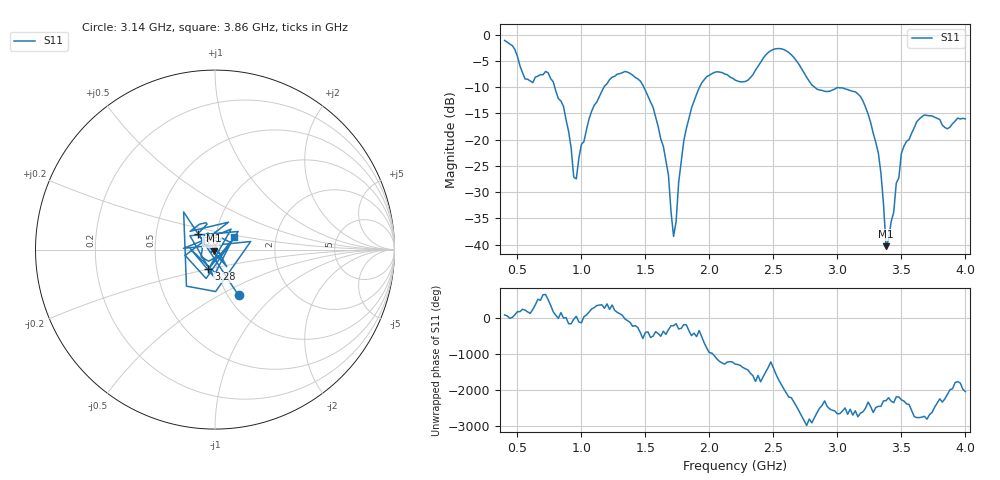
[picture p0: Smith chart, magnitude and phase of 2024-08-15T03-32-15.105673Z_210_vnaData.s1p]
!Created with skrf (http://scikit-rf.org).
# Hz S RI R 50.0
!freq ReS11 ImS11
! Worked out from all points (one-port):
!   181 points, 400 MHz to 4 GHz, reference 50 ohm
!   lowest |S11| = -40.3 dB at 3.38 GHz (marker M1), VSWR 1.02, Z = 49.2 - j0.585 ohm
!   |S11| at or under -10 dB: 791.8 MHz to 1.176 GHz (384 MHz wide, 39 % of centre); 1.488 GHz to 1.923 GHz (434.6 MHz wide, 25.5 % of centre); 2.824 GHz to end of sweep
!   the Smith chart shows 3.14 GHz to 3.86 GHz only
!   S11 on the Smith chart (normalised r, x): 3.14 GHz: 1.12, -0.62; 3.28 GHz: 0.91, -0.20; 3.6 GHz: 0.81, +0.14; 3.86 GHz: 1.22, +0.18
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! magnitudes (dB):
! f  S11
! 400 MHz  -1.1
! 560 MHz  -8.4
! 740 MHz  -7.2
! 860 MHz  -13.6
! 960 MHz  -27.5
! 1.08 GHz  -14.6
! 1.3 GHz  -7.4
! 1.46 GHz  -8.8
! 1.56 GHz  -13.8
! 1.68 GHz  -26.7
! 1.72 GHz  -38.4
! 1.76 GHz  -28.1
! 1.82 GHz  -17.8
! 1.94 GHz  -9.2
! 2.2 GHz  -8.6
! 2.5 GHz  -2.8
! 2.66 GHz  -4.3
! 2.84 GHz  -10.3
! 3.1 GHz  -10.6
! 3.14 GHz  -10.9
! 3.28 GHz  -18.8
! 3.34 GHz  -26.4
! 3.38 GHz  -40.3
! 3.5 GHz  -22.6
! 3.56 GHz  -20.0
! 3.6 GHz  -17.7
! 3.86 GHz  -17.9
! 4 GHz  -16.0
